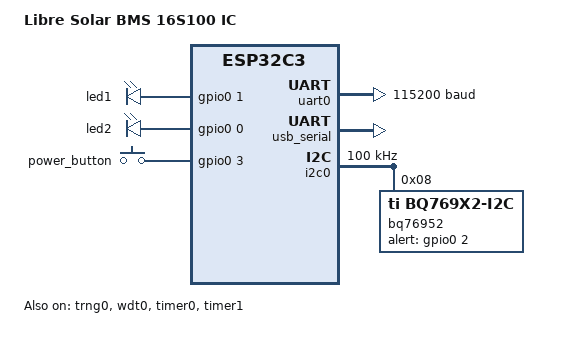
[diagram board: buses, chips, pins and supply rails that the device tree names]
/*
 * Copyright (c) The Libre Solar Project Contributors
 *
 * SPDX-License-Identifier: Apache-2.0
 */

/dts-v1/;

#include <espressif/esp32c3/esp32c3_mini_n4.dtsi>

#include "bms_16s100_sc_esp32c3-pinctrl.dtsi"

#include <dt-bindings/bms_ic/bq769x2.h>

/ {
	model = "Libre Solar BMS 16S100 IC";
	compatible = "espressif,esp32c3";

	pcb {
		compatible = "bms";

		type = "BMS 16S100 SC ESP32C3";
		version-str = "v0.2";
		version-num = <2>;
	};

	chosen {
		zephyr,sram = &sram0;
		zephyr,console = &usb_serial;
		zephyr,shell-uart = &usb_serial;
		zephyr,flash = &flash0;
		zephyr,code-partition = &slot0_partition;
		thingset,serial = &uart0;
	};

	leds {
		compatible = "gpio-leds";
		led1: led_0 {
			gpios = <&gpio0 1 GPIO_ACTIVE_HIGH>;
		};
		led2: led_1 {
			gpios = <&gpio0 0 GPIO_ACTIVE_HIGH>;
		};
	};

	gpio_keys {
		compatible = "gpio-keys";
		power_button: button {
			gpios = <&gpio0 3 GPIO_ACTIVE_HIGH>;
		};
	};

	aliases {
		led-red = &led1;
		led-green = &led2;
		sw-pwr = &power_button;
		bms-ic = &bq76952;
	};
};

&cpu0 {
	clock-frequency = <ESP32_CLK_CPU_160M>;
};

&uart0 {
	status = "okay";
	current-speed = <115200>;
	pinctrl-0 = <&uart0_default>;
	pinctrl-names = "default";
};

&usb_serial {
	status = "okay";
};

&i2c0 {
	status = "okay";
	clock-frequency = <I2C_BITRATE_STANDARD>;
	pinctrl-0 = <&i2c0_default>;
	pinctrl-names = "default";

	bq76952: bq769x2@8 {
		compatible = "ti,bq769x2-i2c";
		reg = <0x08>;
		alert-gpios = <&gpio0 2 GPIO_ACTIVE_HIGH>;
		used-cell-channels = <0xFFFF>;
		/* all NTCs configured with 18k pull-up */
		ts1-pin-config = <0x07>;
		ts3-pin-config = <0x07>;
		dchg-pin-config = <0x07>;
		cell-temp-pins = <BQ769X2_PIN_TS1 BQ769X2_PIN_TS3>;
		fet-temp-pin = <BQ769X2_PIN_DCHG>;
		board-max-current = <100>;
		shunt-resistor-uohm = <500>;
		status = "okay";
	};
};

&trng0 {
	status = "okay";
};

&gpio0 {
	status = "okay";
};

&wdt0 {
	status = "okay";
};

&timer0 {
	status = "okay";
};

&timer1 {
	status = "okay";
};

&flash0 {
	status = "okay";
	partitions {
		compatible = "fixed-partitions";
		#address-cells = <1>;
		#size-cells = <1>;

		/* Reserve 60kB for the bootloader */
		boot_partition: partition@0 {
			label = "mcuboot";
			reg = <0x00000000 0x0000F000>;
			read-only;
		};

		/* Reserve 1024kB for the application in slot 0 */
		slot0_partition: partition@10000 {
			label = "image-0";
			reg = <0x00010000 0x00100000>;
		};

		/* Reserve 1024kB for the application in slot 1 */
		slot1_partition: partition@110000 {
			label = "image-1";
			reg = <0x00110000 0x00100000>;
		};

		/* Reserve 256kB for the scratch partition */
		scratch_partition: partition@210000 {
			   label = "image-scratch";
			   reg = <0x00210000 0x00040000>;
		};

		storage_partition: partition@250000 {
			label = "storage";
			reg = <0x00250000 0x00006000>;
		};
	};
};
